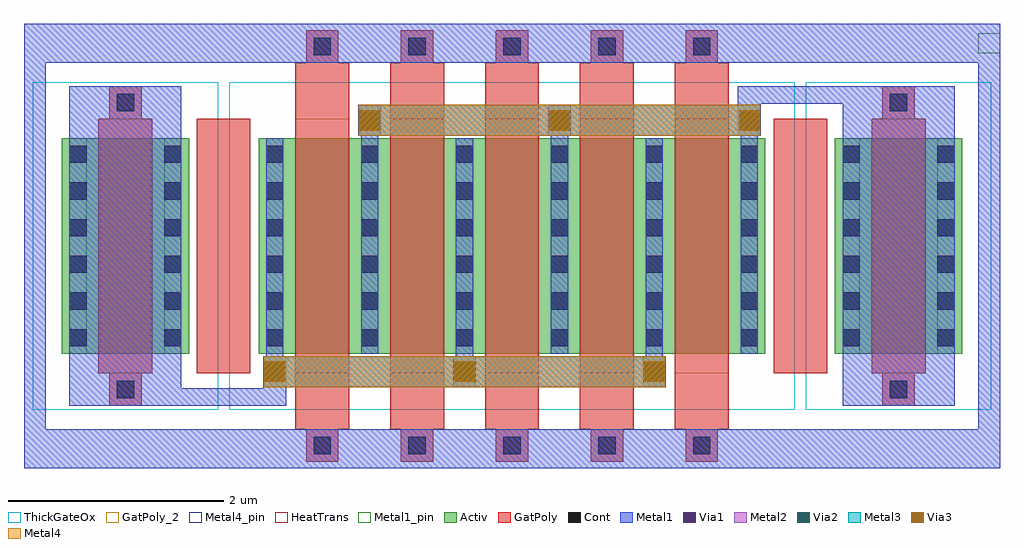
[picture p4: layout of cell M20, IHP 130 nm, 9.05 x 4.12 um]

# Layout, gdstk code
import gdstk
lib = gdstk.Library(unit=1e-6, precision=1e-09)
def R(c, l, rs):  # rectangles x0, y0, x1, y1
    for r in rs: c.add(gdstk.rectangle(r[:2], r[2:], *l))
def A(c, l, x, y, w, h, nx, ny, dx, dy):  # array of equal rectangles
    R(c, l, [(x+i*dx, y+j*dy, x+i*dx+w, y+j*dy+h) for i in range(nx) for j in range(ny)])
Activ = (1, 0)
GatPoly = (5, 0)
GatPoly_2 = (5, 2)
Cont = (6, 0)
Metal1 = (8, 0)
Metal1_pin = (8, 2)
Metal2 = (10, 0)
Via1 = (19, 0)
Via2 = (29, 0)
Metal3 = (30, 0)
ThickGateOx = (44, 0)
Via3 = (49, 0)
Metal4 = (50, 0)
Metal4_pin = (50, 2)
HeatTrans = (51, 0)

nmoshv_5_priv2 = lib.new_cell('nmosHV$5_priv2')
A(nmoshv_5_priv2, Activ, 0, 0, 0.3, 0.3, 6, 1, 0.88, 0)
R(nmoshv_5_priv2, Activ, [(0,0,4.7,2)])
A(nmoshv_5_priv2, GatPoly, 0.44, -1, 0.3, 0.3, 5, 2, 0.88, 3.7)
A(nmoshv_5_priv2, GatPoly, 0.34, -0.7, 0.5, 0.52, 5, 2, 0.88, 2.88)
A(nmoshv_5_priv2, GatPoly, 0.34, -0.18, 0.5, 2.36, 5, 1, 0.88, 0)
R(nmoshv_5_priv2, GatPoly_2, [(0.34,-0.18,0.84,2.18)])
A(nmoshv_5_priv2, Cont, 0.51, -0.93, 0.16, 0.16, 5, 2, 0.88, 3.7)
A(nmoshv_5_priv2, Cont, 0.07, 0.07, 0.16, 0.16, 6, 6, 0.88, 0.34)
A(nmoshv_5_priv2, Metal1, 0.455, -1.06, 0.27, 0.36, 5, 2, 0.88, 3.76)
A(nmoshv_5_priv2, Metal1, 0.045, -0.31, 0.21, 0.29, 3, 1, 1.76, 0)
A(nmoshv_5_priv2, Metal1, 0.07, -0.035, 0.16, 0.05, 3, 1, 1.76, 0)
A(nmoshv_5_priv2, Metal1, 0.07, 0, 0.16, 2, 6, 1, 0.88, 0)
A(nmoshv_5_priv2, Metal1, 0.95, 1.985, 0.16, 0.05, 3, 1, 1.76, 0)
A(nmoshv_5_priv2, Metal1, 0.925, 2.02, 0.21, 0.29, 3, 1, 1.76, 0)
R(nmoshv_5_priv2, Metal1_pin, [(0.07,0,0.23,2), (0.95,0,1.11,2)])
A(nmoshv_5_priv2, Metal2, 0.05, -0.31, 0.2, 0.29, 3, 1, 1.76, 0)
A(nmoshv_5_priv2, Metal2, 0.93, 2.02, 0.2, 0.29, 3, 1, 1.76, 0)
R(nmoshv_5_priv2, Metal2, [(0.05,-0.31,3.77,-0.02), (0.93,2.02,4.65,2.31)])
A(nmoshv_5_priv2, Via1, 0.055, -0.26, 0.19, 0.19, 3, 1, 1.76, 0)
A(nmoshv_5_priv2, Via1, 0.935, 2.07, 0.19, 0.19, 3, 1, 1.76, 0)
A(nmoshv_5_priv2, Via2, 0.055, -0.26, 0.19, 0.19, 3, 1, 1.76, 0)
A(nmoshv_5_priv2, Via2, 0.935, 2.07, 0.19, 0.19, 3, 1, 1.76, 0)
A(nmoshv_5_priv2, Metal3, 0.05, -0.31, 0.2, 0.29, 3, 1, 1.76, 0)
A(nmoshv_5_priv2, Metal3, 0.93, 2.02, 0.2, 0.29, 3, 1, 1.76, 0)
R(nmoshv_5_priv2, Metal3, [(0.05,-0.31,3.77,-0.02), (0.93,2.02,4.65,2.31)])
R(nmoshv_5_priv2, ThickGateOx, [(-0.27,-0.52,4.97,2.52)])
A(nmoshv_5_priv2, Via3, 0.055, -0.26, 0.19, 0.19, 3, 1, 1.76, 0)
A(nmoshv_5_priv2, Via3, 0.935, 2.07, 0.19, 0.19, 3, 1, 1.76, 0)
A(nmoshv_5_priv2, Metal4, 0.05, -0.31, 0.2, 0.29, 3, 1, 1.76, 0)
A(nmoshv_5_priv2, Metal4, 0.93, 2.02, 0.2, 0.29, 3, 1, 1.76, 0)
R(nmoshv_5_priv2, Metal4, [(0.05,-0.31,3.77,-0.02), (0.93,2.02,4.65,2.31)])
R(nmoshv_5_priv2, Metal4_pin, [(3.575,-0.26,3.765,-0.07), (4.455,2.07,4.645,2.26)])
A(nmoshv_5_priv2, HeatTrans, 0.34, -0.18, 0.5, 2.36, 5, 1, 0.88, 0)
nmoshv_5_priv2.add(gdstk.Label('nmosHV', (0.59,1), layer=63, texttype=0))
nmoshv_5_priv2.add(gdstk.Label('nmosHV', (0.59,1), layer=51, texttype=0))
nmoshv_5_priv2.add(gdstk.Label('nmosHV', (1.47,1), layer=51, texttype=0))
nmoshv_5_priv2.add(gdstk.Label('nmosHV', (2.35,1), layer=51, texttype=0))
nmoshv_5_priv2.add(gdstk.Label('nmosHV', (3.23,1), layer=51, texttype=0))
nmoshv_5_priv2.add(gdstk.Label('nmosHV', (4.11,1), layer=51, texttype=0))
nmoshv_5_priv2.add(gdstk.Label('S', (4.55,2.165), layer=50, texttype=0))
nmoshv_5_priv2.add(gdstk.Label('D', (3.67,-0.165), layer=50, texttype=0))

nmoshv_6_priv3 = lib.new_cell('nmosHV$6_priv3')
R(nmoshv_6_priv3, Activ, [(0,0,0.3,0.3), (0,0,1.18,2), (0.88,0,1.18,0.3)])
R(nmoshv_6_priv3, GatPoly, [(0.44,-0.48,0.74,-0.18), (0.34,-0.18,0.84,2.18), (0.44,2.18,0.74,2.48)])
R(nmoshv_6_priv3, GatPoly_2, [(0.34,-0.18,0.84,2.18)])
A(nmoshv_6_priv3, Cont, 0.07, 0.07, 0.16, 0.16, 1, 6, 0, 0.34)
A(nmoshv_6_priv3, Cont, 0.95, 0.07, 0.16, 0.16, 1, 6, 0, 0.34)
R(nmoshv_6_priv3, Cont, [(0.51,-0.41,0.67,-0.25), (0.51,2.25,0.67,2.41)])
R(nmoshv_6_priv3, Metal1, [(0.07,-0.48,1.11,2.48), (0.07,0,0.23,2), (0.95,0,1.11,2)])
R(nmoshv_6_priv3, Metal1_pin, [(0.07,0,0.23,2), (0.95,0,1.11,2)])
R(nmoshv_6_priv3, ThickGateOx, [(-0.27,-0.52,1.45,2.52)])
R(nmoshv_6_priv3, HeatTrans, [(0.34,-0.18,0.84,2.18)])
nmoshv_6_priv3.add(gdstk.Label('nmosHV', (0.59,1), layer=63, texttype=0))
nmoshv_6_priv3.add(gdstk.Label('nmosHV', (0.59,1), layer=51, texttype=0))

nmoshv_6_priv4 = lib.new_cell('nmosHV$6_priv4')
R(nmoshv_6_priv4, Activ, [(0,0,0.3,0.3), (0,0,1.18,2), (0.88,0,1.18,0.3)])
R(nmoshv_6_priv4, GatPoly, [(0.44,-0.48,0.74,-0.18), (0.34,-0.18,0.84,2.18), (0.44,2.18,0.74,2.48)])
R(nmoshv_6_priv4, GatPoly_2, [(0.34,-0.18,0.84,2.18)])
A(nmoshv_6_priv4, Cont, 0.07, 0.07, 0.16, 0.16, 1, 6, 0, 0.34)
A(nmoshv_6_priv4, Cont, 0.95, 0.07, 0.16, 0.16, 1, 6, 0, 0.34)
R(nmoshv_6_priv4, Cont, [(0.51,-0.41,0.67,-0.25), (0.51,2.25,0.67,2.41)])
R(nmoshv_6_priv4, Metal1, [(0.07,-0.48,1.11,2.48), (0.07,0,0.23,2), (0.95,0,1.11,2)])
R(nmoshv_6_priv4, Metal1_pin, [(0.07,0,0.23,2), (0.95,0,1.11,2)])
R(nmoshv_6_priv4, ThickGateOx, [(-0.27,-0.52,1.45,2.52)])
R(nmoshv_6_priv4, HeatTrans, [(0.34,-0.18,0.84,2.18)])
nmoshv_6_priv4.add(gdstk.Label('nmosHV', (0.59,1), layer=63, texttype=0))
nmoshv_6_priv4.add(gdstk.Label('nmosHV', (0.59,1), layer=51, texttype=0))

m20 = lib.new_cell('M20')
R(m20, GatPoly, [(308.995,363.41,309.495,365.77), (314.345,363.41,314.845,365.77)])
R(m20, Metal1, [(307.395,362.53,316.445,362.89), (307.395,362.53,307.595,366.65), (316.245,362.53,316.445,366.65), (308.855,363.11,309.825,363.27), (309.615,363.27,309.825,363.57), (314.015,365.61,314.225,365.91), (314.015,365.91,314.985,366.07), (307.395,366.29,316.445,366.65)])
R(m20, Metal1_pin, [(316.245,366.375,316.445,366.565)])
m20.add(gdstk.Reference(nmoshv_5_priv2, (309.57,363.59)))
m20.add(gdstk.Reference(nmoshv_6_priv3, (307.745,363.59)))
m20.add(gdstk.Reference(nmoshv_6_priv4, (314.915,363.59)))

lib.write_gds('M20.gds')
